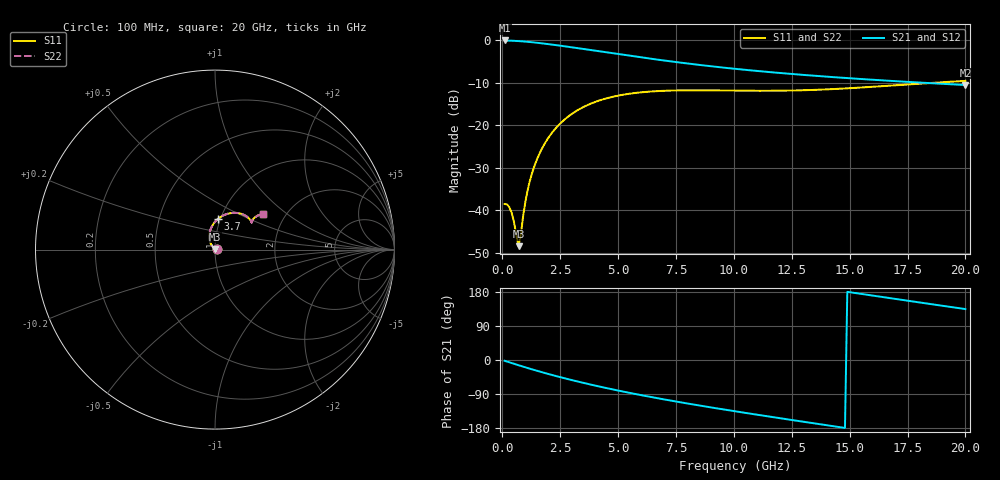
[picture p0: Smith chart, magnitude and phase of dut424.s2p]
! Touchstone file exported from HFSS 2024.1.0
!  File:  C:/UserFiles/LocalFiles/RDL_TSV_Batchsim/temp_RDL_TSV_424_1779718547.aedt
!  Generated:  10:29:43 PM May 25, 2026
!  Design:  RDL_TSV
!  Project:  temp_RDL_TSV_424_1779718547
!  Setup:  Setup1
!  Solution:  Sweep
! Variables:
!  dtsv = 8.37um
!  hbump = 3um
!  htsv = 96.78um
!  ldown = 576.06um
!  lrdl = 336.34um
!  p = 40
!  p1 = 57.72um
!  rhole = 10um
!  subl = 3073.54um
!  t = 450um
!  tdown = 4.67um
!  trdl = 3.49um
!  viad = 10um
!  wdown = 29.31um
!  wrdl = 22.21um
!  xbump = 18um
# GHz S MA R 50.000000
! Terminal data exported
! Port[1] = TM1_1_T1
! Port[2] = TM1_4_T1
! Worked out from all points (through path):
!   200 points, 100 MHz to 20 GHz, reference 50 ohm
!   highest |S21| = -0.11 dB at 100 MHz (marker M1); lowest = -10.6 dB at 20 GHz (marker M2)
!   group delay of S21, straight-line fit = 29.4 ps
!   lowest |S11| = -48.4 dB at 700 MHz (marker M3), VSWR 1.01, Z = 50.2 + j0.326 ohm
!   |S11| at or under -10 dB: start of sweep to 18.72 GHz
!   |S22| runs from -48.4 to -9.6 dB; largest |S21 - S12| = 7.5e-15
!   S11 on the Smith chart (normalised r, x): 100 MHz: 1.02, +0.00; 3.7 GHz: 0.98, +0.35; 20 GHz: 1.54, +0.68
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0.1  0.01191 3.1  0.9873 -2.0  0.9873 -2.0  0.01191 3.1
! Gamma 0 0 0 0
! Port Impedance 50 0 50 0
0.3  0.01097 3.3  0.9836 -6.0  0.9836 -6.0  0.01096 3.2
0.4  0.00946 4.3  0.9811 -8.0  0.9811 -8.0  0.009447 4.2
0.5  0.007451 8.7  0.9782 -9.9  0.9782 -9.9  0.007434 8.5
0.7  0.003815 58.2  0.9711 -13.8  0.9711 -13.8  0.003783 58.2
0.8  0.005158 102.3  0.9668 -15.7  0.9668 -15.7  0.005134 102.6
0.9  0.00857 120.8  0.9622 -17.6  0.9622 -17.6  0.008555 121.0
1.1  0.01762 129.3  0.9518 -21.3  0.9518 -21.3  0.01761 129.4
1.3  0.02825 128.7  0.9403 -25.0  0.9403 -25.0  0.02825 128.8
1.6  0.04611 124.0  0.9211 -30.3  0.9211 -30.3  0.0461 124.1
2  0.07188 115.9  0.8936 -37.1  0.8936 -37.1  0.07189 116.0
2.4  0.0982 107.6  0.8648 -43.7  0.8648 -43.7  0.09821 107.7
2.9  0.1298 97.8  0.8284 -51.5  0.8284 -51.5  0.1298 97.9
3.5  0.1635 87.2  0.7851 -60.3  0.7851 -60.3  0.1636 87.2
3.7  0.1735 83.9  0.7709 -63.2  0.7709 -63.2  0.1736 84.0
5.2  0.2276 64.0  0.6717 -83.1  0.6717 -83.1  0.2278 64.0
6.8  0.2523 49.8  0.5835 -101.9  0.5835 -101.9  0.2525 49.8
8.4  0.2573 41.4  0.5142 -118.9  0.5142 -118.9  0.2576 41.3
10.1  0.2548 37.2  0.4576 -135.8  0.4576 -135.8  0.255 37.1
13.4  0.2594 37.4  0.382 -166.6  0.382 -166.6  0.2593 37.2
16.7  0.291 39.0  0.3323 163.6  0.3323 163.6  0.2905 38.7
20  0.3311 36.6  0.2963 134.4  0.2963 134.4  0.3303 36.4
